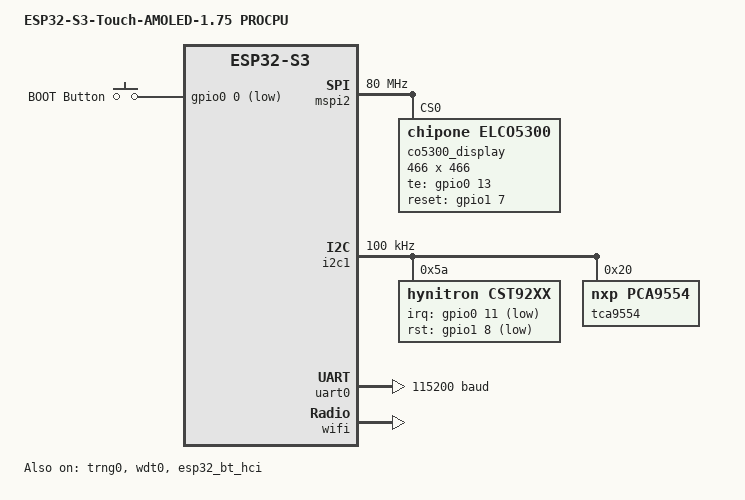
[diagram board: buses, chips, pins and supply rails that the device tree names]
/*
 * Copyright (c) 2025 Pavel Maloletkov
 *
 * SPDX-License-Identifier: Apache-2.0
 */
/dts-v1/;

#include <espressif/esp32s3/esp32s3.dtsi>
#include "esp32s3_touch_amoled_1_75-pinctrl.dtsi"
#include <zephyr/dt-bindings/display/panel.h>
#include <zephyr/dt-bindings/input/input-event-codes.h>
#include <espressif/partitions_0x0_amp_16M.dtsi>

/ {
	model = "ESP32-S3-Touch-AMOLED-1.75 PROCPU";
	compatible = "waveshare,esp32-s3-touch-amoled-1.75";

	aliases {
		i2c-1 = &i2c1;
		sw0 = &button0;
		uart-0 = &uart0;
		watchdog0 = &wdt0;
	};

	chosen {
		zephyr,sram = &sram1;
		zephyr,console = &uart0;
		zephyr,shell-uart = &uart0;
		zephyr,flash = &flash0;
		zephyr,code-partition = &slot0_partition;
		zephyr,display = &co5300_display;
		zephyr,touch = &cst92xx;
		zephyr,bt-hci = &esp32_bt_hci;
	};

	/* Buttons */
	buttons {
		compatible = "gpio-keys";

		button0: button_0 {
			gpios = <&gpio0 0 (GPIO_PULL_UP | GPIO_ACTIVE_LOW)>;
			label = "BOOT Button";
			zephyr,code = <INPUT_KEY_0>;
		};
	};

	mspi2: mspi2@60024000 {
		status = "okay";
		compatible = "espressif,esp32-mspi";
		reg = <0x60024000 DT_SIZE_K(4)>;
		#address-cells = <1>;
		#size-cells = <0>;

		peripheral-id = <0>; /* SPI2: peripheral_id=0, host_id=1 */
		clocks = <&clock ESP32_SPI2_MODULE>;
		interrupts = <SPI2_INTR_SOURCE IRQ_DEFAULT_PRIORITY 0>;
		interrupt-parent = <&intc>;
		dma-enabled;
		dma-host = <0>; /* GDMA slot for SPI2 */
		dmas = <&dma 0>, <&dma 1>;
		dma-names = "tx", "rx";
		duplex = "MSPI_HALF_DUPLEX";

		clock-frequency = <80000000>;

		pinctrl-0 = <&mspi2_default>;
		pinctrl-names = "default";
		ce-gpios = <&gpio0 12 GPIO_ACTIVE_HIGH>;

		// CO5300 display as MSPI device
		co5300_display: co5300-display@0 {
			compatible = "chipone,elco5300";
			reg = <0>;
			status = "okay";
			/* Should be less than or equal to CONFIG_MSPI_DMA_MAX_BUFFER_SIZE */
            max-buf-size = <10240>;

			// MSPI device properties
			mspi-max-frequency = <40000000>;

			// Display-specific GPIOs
			te-gpios = <&gpio0 13 GPIO_ACTIVE_HIGH>;  // TE pin
			reset-gpios = <&gpio1 7 GPIO_ACTIVE_HIGH>; // Reset pin

			// Display properties
			// pixel-format = <PANEL_PIXEL_FORMAT_RGB_565>;
            pixel-format = <PANEL_PIXEL_FORMAT_L_8>;
			width = <466>;
			height = <466>;
            x-offset = <6>;
			write-only;
		};
	};

	/* Touch Controller */
	lvgl_pointer {
		compatible = "zephyr,lvgl-pointer-input";
		input = <&cst92xx>;
	};
};

&dma {
	status = "okay";
};

&flash0 {
	reg = <0x0 DT_SIZE_M(16)>;
};

&psram0 {
	size = <DT_SIZE_M(8)>;
};

&gpio0 {
	status = "okay";
};

&gpio1 {
	status = "okay";
};

&trng0 {
	status = "okay";
};

&i2c1 {
	status ="okay";
	clock-frequency = <I2C_BITRATE_STANDARD>;
	pinctrl-0 = <&i2c1_default>;
	pinctrl-names = "default";

	/* Hynitron CST92XX Capacitive Touch Controller */
	cst92xx: cst92xx@5A {
		status = "okay";
		compatible = "hynitron,cst92xx";
		reg = <0x5A>;
		irq-gpios = <&gpio0 11 (GPIO_PULL_UP | GPIO_ACTIVE_LOW)>;
		rst-gpios = <&gpio1 8 GPIO_ACTIVE_LOW>;
		inverted-x;
		inverted-y;
	};

    tca9554: tca9554@20 {
        compatible = "nxp,pca9554";
        reg = <0x20>;
        gpio-controller;
        #gpio-cells = <2>;
        ngpios = <8>;
    };
};

&uart0 {
	status = "okay";
	current-speed = <115200>;
	pinctrl-0 = <&uart0_default>;
	pinctrl-names = "default";
};

&spi3 {
	status = "disabled";
	#address-cells = <1>;
	#size-cells = <0>;
	pinctrl-0 = <&spim3_default>;
	pinctrl-names = "default";

	spi_sdhc0: sdhc@0 {
        compatible = "zephyr,sdhc-spi-slot";
        reg = <0>;
        status = "okay";
        spi-max-frequency = <24000000>;

        mmc {
            compatible = "zephyr,sdmmc-disk";
            disk-name = "SD";
            status = "okay";
        };
    };
};

&wdt0 {
	status = "okay";
};

&esp32_bt_hci {
	status = "okay";
};

&wifi {
	status = "okay";
};
